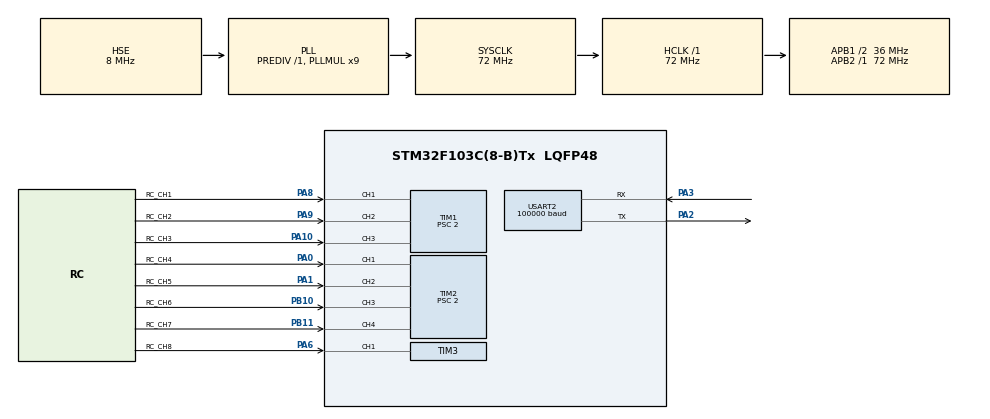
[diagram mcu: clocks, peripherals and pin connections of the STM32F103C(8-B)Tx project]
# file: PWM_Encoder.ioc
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Mcu.Family=STM32F1
Mcu.Name=STM32F103C(8-B)Tx
Mcu.Package=LQFP48
Mcu.UserConstants=TIMER_MAX_VAL,65535
NVIC.PriorityGroup=NVIC_PRIORITYGROUP_4
NVIC.TIM1_CC_IRQn=true\:0\:0\:false\:false\:true
NVIC.TIM2_IRQn=true\:0\:0\:false\:false\:true
NVIC.TIM3_IRQn=true\:0\:0\:false\:false\:true
NVIC.USART2_IRQn=true\:0\:0\:false\:false\:true
PA0-WKUP.GPIO_Label=RC_CH4
PA0-WKUP.Signal=S_TIM2_CH1_ETR
PA1.GPIO_Label=RC_CH5
PA1.Signal=S_TIM2_CH2
PA10.GPIO_Label=RC_CH3
PA10.Signal=S_TIM1_CH3
PA13.Mode=Serial_Wire
PA13.Signal=SYS_JTMS-SWDIO
PA14.Mode=Serial_Wire
PA14.Signal=SYS_JTCK-SWCLK
PA2.Mode=Asynchronous
PA2.Signal=USART2_TX
PA3.Mode=Asynchronous
PA3.Signal=USART2_RX
PA6.GPIO_Label=RC_CH8
PA6.Signal=S_TIM3_CH1
PA8.GPIO_Label=RC_CH1
PA8.Signal=S_TIM1_CH1
PA9.GPIO_Label=RC_CH2
PA9.Signal=S_TIM1_CH2
PB10.GPIO_Label=RC_CH6
PB10.Signal=S_TIM2_CH3
PB11.GPIO_Label=RC_CH7
PB11.Signal=S_TIM2_CH4
PD0-OSC_IN.Mode=HSE-External-Oscillator
PD0-OSC_IN.Signal=RCC_OSC_IN
PD1-OSC_OUT.Mode=HSE-External-Oscillator
PD1-OSC_OUT.Signal=RCC_OSC_OUT
ProjectManager.HeapSize=0x200
ProjectManager.StackSize=0x400
ProjectManager.TargetToolchain=SW4STM32
RCC.AHBFreq_Value=72000000
RCC.APB1CLKDivider=RCC_HCLK_DIV2
RCC.APB1Freq_Value=36000000
RCC.APB1TimFreq_Value=72000000
RCC.APB2Freq_Value=72000000
RCC.APB2TimFreq_Value=72000000
RCC.HCLKFreq_Value=72000000
RCC.HSIState=RCC_HSI_ON
RCC.PLLMUL=RCC_PLL_MUL9
RCC.PLLSourceVirtual=RCC_PLLSOURCE_HSE
RCC.SYSCLKFreq_VALUE=72000000
RCC.SYSCLKSource=RCC_SYSCLKSOURCE_PLLCLK
RCC.USBFreq_Value=48000000
RCC.USBPrescaler=RCC_USBCLKSOURCE_PLL_DIV1_5
SH.S_TIM1_CH1.0=TIM1_CH1,Input_Capture1_from_TI1
SH.S_TIM1_CH2.0=TIM1_CH2,Input_Capture2_from_TI2
SH.S_TIM1_CH3.0=TIM1_CH3,Input_Capture3_from_TI3
SH.S_TIM2_CH1_ETR.0=TIM2_CH1,Input_Capture1_from_TI1
SH.S_TIM2_CH2.0=TIM2_CH2,Input_Capture2_from_TI2
SH.S_TIM2_CH3.0=TIM2_CH3,Input_Capture3_from_TI3
SH.S_TIM2_CH4.0=TIM2_CH4,Input_Capture4_from_TI4
SH.S_TIM3_CH1.0=TIM3_CH1,Input_Capture1_from_TI1
TIM1.Channel-Input_Capture2_from_TI2=TIM_CHANNEL_2
TIM1.Channel-Input_Capture3_from_TI3=TIM_CHANNEL_3
TIM1.ClockDivision=TIM_CLOCKDIVISION_DIV1
TIM1.Period=TIMER_MAX_VAL
TIM1.Prescaler=2
TIM1.TIM_MasterOutputTrigger=TIM_TRGO_RESET
TIM2.Channel-Input_Capture2_from_TI2=TIM_CHANNEL_2
TIM2.Channel-Input_Capture3_from_TI3=TIM_CHANNEL_3
TIM2.Channel-Input_Capture4_from_TI4=TIM_CHANNEL_4
TIM2.ClockDivision=TIM_CLOCKDIVISION_DIV1
TIM2.Period=TIMER_MAX_VAL
TIM2.Prescaler=2
TIM3.Period=TIMER_MAX_VAL
TIM3.Prescaler=2
USART2.BaudRate=100000
USART2.Mode=UART_MODE_TX
USART2.Parity=UART_PARITY_EVEN
USART2.StopBits=UART_STOPBITS_2
USART2.WordLength=UART_WORDLENGTH_9B
VP_TIM1_VS_ClockSourceINT.Mode=Internal
VP_TIM2_VS_ClockSourceINT.Mode=Internal
VP_TIM3_VS_ClockSourceINT.Mode=Internal
board=PWM_Encoder

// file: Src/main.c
/**
  ******************************************************************************
  * File Name          : main.c
  * Description        : Main program body
  ******************************************************************************
  *
  * COPYRIGHT(c) 2016 STMicroelectronics
  *
  * Redistribution and use in source and binary forms, with or without modification,
  * are permitted provided that the following conditions are met:
  *   1. Redistributions of source code must retain the above copyright notice,
  *      this list of conditions and the following disclaimer.
  *   2. Redistributions in binary form must reproduce the above copyright notice,
  *      this list of conditions and the following disclaimer in the documentation
  *      and/or other materials provided with the distribution.
  *   3. Neither the name of STMicroelectronics nor the names of its contributors
  *      may be used to endorse or promote products derived from this software
  *      without specific prior written permission.
  *
  * THIS SOFTWARE IS PROVIDED BY THE COPYRIGHT HOLDERS AND CONTRIBUTORS "AS IS"
  * AND ANY EXPRESS OR IMPLIED WARRANTIES, INCLUDING, BUT NOT LIMITED TO, THE
  * IMPLIED WARRANTIES OF MERCHANTABILITY AND FITNESS FOR A PARTICULAR PURPOSE ARE
  * DISCLAIMED. IN NO EVENT SHALL THE COPYRIGHT HOLDER OR CONTRIBUTORS BE LIABLE
  * FOR ANY DIRECT, INDIRECT, INCIDENTAL, SPECIAL, EXEMPLARY, OR CONSEQUENTIAL
  * DAMAGES (INCLUDING, BUT NOT LIMITED TO, PROCUREMENT OF SUBSTITUTE GOODS OR
  * SERVICES; LOSS OF USE, DATA, OR PROFITS; OR BUSINESS INTERRUPTION) HOWEVER
  * CAUSED AND ON ANY THEORY OF LIABILITY, WHETHER IN CONTRACT, STRICT LIABILITY,
  * OR TORT (INCLUDING NEGLIGENCE OR OTHERWISE) ARISING IN ANY WAY OUT OF THE USE
  * OF THIS SOFTWARE, EVEN IF ADVISED OF THE POSSIBILITY OF SUCH DAMAGE.
  *
  ******************************************************************************
  */
#include "stm32f1xx_hal.h"
#include "tim.h"
#include "usart.h"
#include "gpio.h"

/* USER CODE BEGIN Includes */
#include "main.h"
#include "Sbus.h"

/* USER CODE END Includes */

/* USER CODE BEGIN PV */
/* Private variables ---------------------------------------------------------*/
CH_Pwm_Val_t CH_Pwm_Val[MAX_RC_CH_NB];
uint8_t i;
uint16_t Sbus_CH[16]  	= {1025,1025,1025,1025,1025,1025,1025,1025,1025,1025,1025,1025,1025,1025,1025,1025};
TIM_IC_InitTypeDef sConfigIC;

/* USER CODE END PV */

void SystemClock_Config(void);
void Error_Handler(void);

/* USER CODE BEGIN PFP */
/* Private function prototypes -----------------------------------------------*/

/* USER CODE END PFP */

int main(void)
{

  /* MCU Configuration----------------------------------------------------------*/

  /* Reset of all peripherals, Initializes the Flash interface and the Systick. */
  HAL_Init();

  /* Configure the system clock */
  SystemClock_Config();

  /* Initialize all configured peripherals */
  MX_GPIO_Init();
  MX_TIM1_Init();
  MX_TIM2_Init();
  MX_USART2_UART_Init();
  MX_TIM3_Init();

  /* USER CODE BEGIN 2 */
  // RC channels 1 to 3
  HAL_TIM_IC_Start_IT(&htim1,TIM_CHANNEL_1);
  HAL_TIM_IC_Start_IT(&htim1,TIM_CHANNEL_2);
  HAL_TIM_IC_Start_IT(&htim1,TIM_CHANNEL_3);

  // RC channels 4 to 7
  HAL_TIM_IC_Start_IT(&htim2,TIM_CHANNEL_1);
  HAL_TIM_IC_Start_IT(&htim2,TIM_CHANNEL_2);
  HAL_TIM_IC_Start_IT(&htim2,TIM_CHANNEL_3);
  HAL_TIM_IC_Start_IT(&htim2,TIM_CHANNEL_4);

  // RC channel 8
  HAL_TIM_IC_Start_IT(&htim3,TIM_CHANNEL_1);

  sConfigIC.ICSelection = TIM_ICSELECTION_DIRECTTI;
  sConfigIC.ICPrescaler = TIM_ICPSC_DIV1;
  sConfigIC.ICFilter = 0;

  /* USER CODE END 2 */

  /* Infinite loop */
  /* USER CODE BEGIN WHILE */
  while (1)
  {
	  	for(i=0;i<USED_RC_CH_NB;i++){
	  		if(CH_Pwm_Val[i].CH_Detected == CH_DETECTED){
	  			Sbus_CH[i] = ((CH_Pwm_Val[i].Delta / PWM_Ratio) - 880) / 0.625f;
	  			CH_Pwm_Val[i].CH_Detected = CH_NOT_DETECTED;
	  		}
	  		else
	  			Sbus_CH[i] = 0;
	  	}

	  SBUS_write(Sbus_CH);
	  HAL_Delay(7);

  /* USER CODE END WHILE */

  }

}

/** System Clock Configuration
*/
void SystemClock_Config(void)
{

  RCC_OscInitTypeDef RCC_OscInitStruct;
  RCC_ClkInitTypeDef RCC_ClkInitStruct;

  RCC_OscInitStruct.OscillatorType = RCC_OSCILLATORTYPE_HSE;
  RCC_OscInitStruct.HSEState = RCC_HSE_ON;
  RCC_OscInitStruct.HSEPredivValue = RCC_HSE_PREDIV_DIV1;
  RCC_OscInitStruct.PLL.PLLState = RCC_PLL_ON;
  RCC_OscInitStruct.PLL.PLLSource = RCC_PLLSOURCE_HSE;
  RCC_OscInitStruct.PLL.PLLMUL = RCC_PLL_MUL9;
  if (HAL_RCC_OscConfig(&RCC_OscInitStruct) != HAL_OK)
  {
    Error_Handler();
  }

  RCC_ClkInitStruct.ClockType = RCC_CLOCKTYPE_HCLK|RCC_CLOCKTYPE_SYSCLK
                              |RCC_CLOCKTYPE_PCLK1|RCC_CLOCKTYPE_PCLK2;
  RCC_ClkInitStruct.SYSCLKSource = RCC_SYSCLKSOURCE_PLLCLK;
  RCC_ClkInitStruct.AHBCLKDivider = RCC_SYSCLK_DIV1;
  RCC_ClkInitStruct.APB1CLKDivider = RCC_HCLK_DIV2;
  RCC_ClkInitStruct.APB2CLKDivider = RCC_HCLK_DIV1;
  if (HAL_RCC_ClockConfig(&RCC_ClkInitStruct, FLASH_LATENCY_2) != HAL_OK)
  {
    Error_Handler();
  }

  HAL_SYSTICK_Config(HAL_RCC_GetHCLKFreq()/1000);

  HAL_SYSTICK_CLKSourceConfig(SYSTICK_CLKSOURCE_HCLK);

  /* SysTick_IRQn interrupt configuration */
  HAL_NVIC_SetPriority(SysTick_IRQn, 0, 0);
}

/* USER CODE BEGIN 4 */
void HAL_TIM_IC_CaptureCallback(TIM_HandleTypeDef *htim)
{
	uint8_t Ch_Idx;
	uint8_t Ch_Ct_Idx;

	/*****************************************
	 * 				CH 1 to 8 sampling
	 *****************************************/

	Ch_Idx 		= htim->Channel >> 1;

	switch(htim->Channel)
	{
		case HAL_TIM_ACTIVE_CHANNEL_1:
			Ch_Idx 		= 0;
			Ch_Ct_Idx 	= TIM_CHANNEL_1;
		break;
		case HAL_TIM_ACTIVE_CHANNEL_2:
			Ch_Idx 		= 1;
			Ch_Ct_Idx 	= TIM_CHANNEL_2;
		break;
		case HAL_TIM_ACTIVE_CHANNEL_3:
			Ch_Idx 		= 2;
			Ch_Ct_Idx 	= TIM_CHANNEL_3;
		break;
		case HAL_TIM_ACTIVE_CHANNEL_4:
			Ch_Idx 		= 3;
			Ch_Ct_Idx 	= TIM_CHANNEL_4;
		break;
	}

	if(htim->Instance == TIM2)
		Ch_Idx += TIMER_1_CH_NB;
	else if(htim->Instance == TIM3)
		Ch_Idx += TIMER_1_CH_NB + TIMER_2_CH_NB;

	// Raising edge
		if(CH_Pwm_Val[Ch_Idx].Current_Edge == RAISING)
		{
			// Set Edge detect flag
			CH_Pwm_Val[Ch_Idx].CH_Detected =  CH_DETECTED;

			// Set IC polarity to Falling
			sConfigIC.ICPolarity = TIM_INPUTCHANNELPOLARITY_FALLING;
			HAL_TIM_IC_ConfigChannel(htim, &sConfigIC, Ch_Ct_Idx);
			CH_Pwm_Val[Ch_Idx].Current_Edge = FALLING;

			// Store raising edge timer value
			CH_Pwm_Val[Ch_Idx].Rising = HAL_TIM_ReadCapturedValue(htim,Ch_Ct_Idx);
		}
		// Falling edge
		else{
			// Set IC polarity to Raising
			sConfigIC.ICPolarity = TIM_INPUTCHANNELPOLARITY_RISING;
			HAL_TIM_IC_ConfigChannel(htim, &sConfigIC, Ch_Ct_Idx);
			CH_Pwm_Val[Ch_Idx].Current_Edge = RAISING;

			// Store falling edge timer value
			CH_Pwm_Val[Ch_Idx].Falling = HAL_TIM_ReadCapturedValue(htim,Ch_Ct_Idx);

			// Compute delta value between raising and falling edge
			if(CH_Pwm_Val[Ch_Idx].Rising < CH_Pwm_Val[Ch_Idx].Falling)
				CH_Pwm_Val[Ch_Idx].Delta = CH_Pwm_Val[Ch_Idx].Falling - CH_Pwm_Val[Ch_Idx].Rising;
			else
				CH_Pwm_Val[Ch_Idx].Delta = (TIMER_MAX_VAL - CH_Pwm_Val[Ch_Idx].Rising) + CH_Pwm_Val[Ch_Idx].Falling + 1;
		}

		// Start IC interrupt after polarity inversion
		HAL_TIM_IC_Start_IT(htim,Ch_Ct_Idx);
}

/* USER CODE END 4 */

void Error_Handler(void)
{
  while(1)
  {
  }
}

/************************ (C) COPYRIGHT STMicroelectronics *****END OF FILE****/
